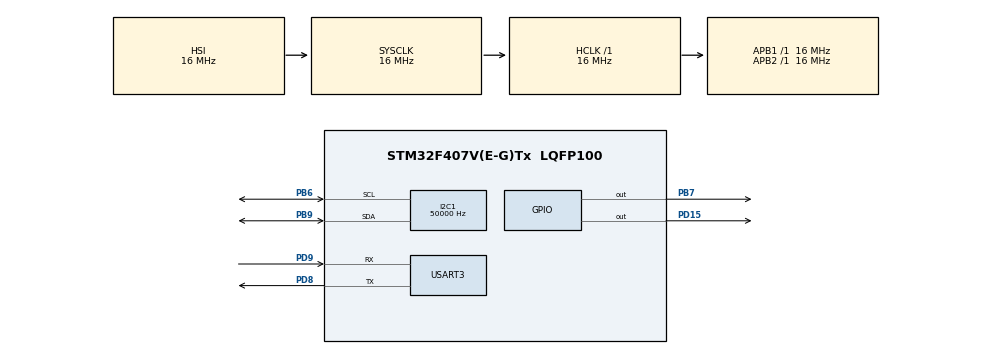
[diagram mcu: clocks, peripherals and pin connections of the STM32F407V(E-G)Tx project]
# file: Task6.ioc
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I2C1.ClockSpeed=50000
Mcu.Family=STM32F4
Mcu.Name=STM32F407V(E-G)Tx
Mcu.Package=LQFP100
NVIC.PriorityGroup=NVIC_PRIORITYGROUP_4
PB6.Mode=I2C
PB6.Signal=I2C1_SCL
PB7.Signal=GPIO_Output
PB9.Mode=I2C
PB9.Signal=I2C1_SDA
PD15.Signal=GPIO_Output
PD8.Mode=Asynchronous
PD8.Signal=USART3_TX
PD9.Mode=Asynchronous
PD9.Signal=USART3_RX
ProjectManager.HeapSize=0x200
ProjectManager.StackSize=0x400
ProjectManager.TargetToolchain=STM32CubeIDE
RCC.AHBFreq_Value=16000000
RCC.APB1Freq_Value=16000000
RCC.APB2Freq_Value=16000000
RCC.CortexFreq_Value=16000000
RCC.HSE_VALUE=25000000
RCC.HSI_VALUE=16000000
RCC.LSE_VALUE=32768
RCC.SYSCLKFreq_VALUE=16000000
RCC.VCOOutputFreq_Value=192000000
USART3.VirtualMode=VM_ASYNC
board=custom

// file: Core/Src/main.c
/* USER CODE BEGIN Header */
/**
 ******************************************************************************
 * @file           : main.c
 * @brief          : Main program body
 ******************************************************************************
 * @attention
 *
 * <h2><center>&copy; Copyright (c) 2021 STMicroelectronics.
 * All rights reserved.</center></h2>
 *
 * This software component is licensed by ST under BSD 3-Clause license,
 * the "License"; You may not use this file except in compliance with the
 * License. You may obtain a copy of the License at:
 *                        opensource.org/licenses/BSD-3-Clause
 *
 ******************************************************************************
 */
/* USER CODE END Header */
#include <pca9685.h>
#include "main.h"

/* USER CODE BEGIN Includes */
#include <string.h>
#include <stdio.h>
/* USER CODE END Includes */

/* USER CODE BEGIN PTD */
#define RECIEVE_BUF_SIZE 11
/* USER CODE END PTD */

I2C_HandleTypeDef hi2c1;

UART_HandleTypeDef huart3;

void SystemClock_Config(void);
static void MX_GPIO_Init(void);
static void MX_I2C1_Init(void);
static void MX_USART3_UART_Init(void);

/* USER CODE BEGIN 0 */
void parse_command(uint8_t *command) {
	uint8_t channel = 0;
	uint8_t duty = 0;
	uint8_t offset = 0;

	if(strstr((const char *)command, "disable all"))
	{
		pca9685_DisableALL();
		return;
	}

	sscanf((const char*) command, "set %c, %c, %c", &channel, &duty, &offset);

	duty = (duty == 'a') ? 100 : (duty - '0');
	pca9685_SetDutyCycle(channel - '0', duty * 10, offset - '0');
}
/* USER CODE END 0 */

int main(void) {

	/* MCU Configuration--------------------------------------------------------*/

	/* Reset of all peripherals, Initializes the Flash interface and the Systick. */
	HAL_Init();

	/* Configure the system clock */
	SystemClock_Config();

	/* Initialize all configured peripherals */
	MX_GPIO_Init();
	MX_I2C1_Init();
	MX_USART3_UART_Init();
	/* USER CODE BEGIN 2 */
	uint8_t start_msg[] = "\r\nUsage:\r\n> set c, d, o\r\n\tc - channel(0-15)\r\n\td - duty cycle (0 - 9, a - 100%)\r\n\to - offset\r\n> disable all\r\n";
	HAL_UART_Transmit(&huart3, start_msg, sizeof(start_msg), 10);
	HAL_Delay(100);

	pca9685_Init(&hi2c1);

	pca9685_DisableALL();

	/* USER CODE END 2 */

	/* Infinite loop */
	/* USER CODE BEGIN WHILE */
	while (1) {
		HAL_StatusTypeDef result;
		uint8_t rcvBuf[RECIEVE_BUF_SIZE];
		result = HAL_UART_Receive(&huart3, rcvBuf, sizeof(rcvBuf), 10);
		if (result == HAL_OK) {
			parse_command(rcvBuf);
		}
		/* USER CODE END WHILE */

	}
}

void SystemClock_Config(void) {
	RCC_OscInitTypeDef RCC_OscInitStruct = { 0 };
	RCC_ClkInitTypeDef RCC_ClkInitStruct = { 0 };

	/** Configure the main internal regulator output voltage
	 */
	__HAL_RCC_PWR_CLK_ENABLE();
	__HAL_PWR_VOLTAGESCALING_CONFIG(PWR_REGULATOR_VOLTAGE_SCALE1);
	/** Initializes the RCC Oscillators according to the specified parameters
	 * in the RCC_OscInitTypeDef structure.
	 */
	RCC_OscInitStruct.OscillatorType = RCC_OSCILLATORTYPE_HSI;
	RCC_OscInitStruct.HSIState = RCC_HSI_ON;
	RCC_OscInitStruct.HSICalibrationValue = RCC_HSICALIBRATION_DEFAULT;
	RCC_OscInitStruct.PLL.PLLState = RCC_PLL_NONE;
	if (HAL_RCC_OscConfig(&RCC_OscInitStruct) != HAL_OK) {
		Error_Handler();
	}
	/** Initializes the CPU, AHB and APB buses clocks
	 */
	RCC_ClkInitStruct.ClockType = RCC_CLOCKTYPE_HCLK | RCC_CLOCKTYPE_SYSCLK
			| RCC_CLOCKTYPE_PCLK1 | RCC_CLOCKTYPE_PCLK2;
	RCC_ClkInitStruct.SYSCLKSource = RCC_SYSCLKSOURCE_HSI;
	RCC_ClkInitStruct.AHBCLKDivider = RCC_SYSCLK_DIV1;
	RCC_ClkInitStruct.APB1CLKDivider = RCC_HCLK_DIV1;
	RCC_ClkInitStruct.APB2CLKDivider = RCC_HCLK_DIV1;

	if (HAL_RCC_ClockConfig(&RCC_ClkInitStruct, FLASH_LATENCY_0) != HAL_OK) {
		Error_Handler();
	}
}

static void MX_I2C1_Init(void) {

	hi2c1.Instance = I2C1;
	hi2c1.Init.ClockSpeed = 50000;
	hi2c1.Init.DutyCycle = I2C_DUTYCYCLE_2;
	hi2c1.Init.OwnAddress1 = 0;
	hi2c1.Init.AddressingMode = I2C_ADDRESSINGMODE_7BIT;
	hi2c1.Init.DualAddressMode = I2C_DUALADDRESS_DISABLE;
	hi2c1.Init.OwnAddress2 = 0;
	hi2c1.Init.GeneralCallMode = I2C_GENERALCALL_DISABLE;
	hi2c1.Init.NoStretchMode = I2C_NOSTRETCH_DISABLE;
	if (HAL_I2C_Init(&hi2c1) != HAL_OK) {
		Error_Handler();
	}

}

static void MX_USART3_UART_Init(void) {

	huart3.Instance = USART3;
	huart3.Init.BaudRate = 115200;
	huart3.Init.WordLength = UART_WORDLENGTH_8B;
	huart3.Init.StopBits = UART_STOPBITS_1;
	huart3.Init.Parity = UART_PARITY_NONE;
	huart3.Init.Mode = UART_MODE_TX_RX;
	huart3.Init.HwFlowCtl = UART_HWCONTROL_NONE;
	huart3.Init.OverSampling = UART_OVERSAMPLING_16;
	if (HAL_UART_Init(&huart3) != HAL_OK) {
		Error_Handler();
	}

}

static void MX_GPIO_Init(void) {
	GPIO_InitTypeDef GPIO_InitStruct = { 0 };

	/* GPIO Ports Clock Enable */
	__HAL_RCC_GPIOD_CLK_ENABLE();
	__HAL_RCC_GPIOB_CLK_ENABLE();

	/*Configure GPIO pin Output Level */
	HAL_GPIO_WritePin(GPIOD, GPIO_PIN_15, GPIO_PIN_RESET);

	/*Configure GPIO pin Output Level */
	HAL_GPIO_WritePin(GPIOB, GPIO_PIN_7, GPIO_PIN_RESET);

	/*Configure GPIO pin : PD15 */
	GPIO_InitStruct.Pin = GPIO_PIN_15;
	GPIO_InitStruct.Mode = GPIO_MODE_OUTPUT_PP;
	GPIO_InitStruct.Pull = GPIO_NOPULL;
	GPIO_InitStruct.Speed = GPIO_SPEED_FREQ_LOW;
	HAL_GPIO_Init(GPIOD, &GPIO_InitStruct);

	/*Configure GPIO pin : PB7 */
	GPIO_InitStruct.Pin = GPIO_PIN_7;
	GPIO_InitStruct.Mode = GPIO_MODE_OUTPUT_PP;
	GPIO_InitStruct.Pull = GPIO_NOPULL;
	GPIO_InitStruct.Speed = GPIO_SPEED_FREQ_LOW;
	HAL_GPIO_Init(GPIOB, &GPIO_InitStruct);

}

void Error_Handler(void) {
	__disable_irq();
	while (1) {
	}
}

/************************ (C) COPYRIGHT STMicroelectronics *****END OF FILE****/
